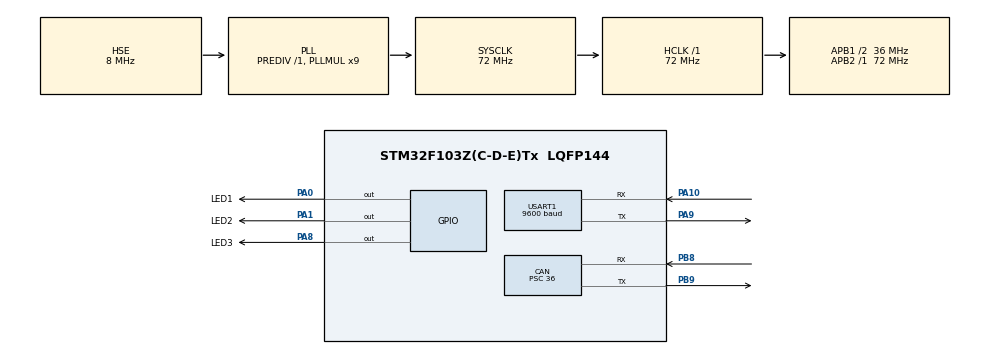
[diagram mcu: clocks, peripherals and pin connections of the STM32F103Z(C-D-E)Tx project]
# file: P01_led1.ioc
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CAN.ABOM=ENABLE
CAN.AWUM=ENABLE
CAN.BS1=CAN_BS1_2TQ
CAN.BS2=CAN_BS2_2TQ
CAN.CalculateBaudRate=200000
CAN.CalculateTimeBit=5000
CAN.CalculateTimeQuantum=1000.0
CAN.Mode=CAN_MODE_NORMAL
CAN.Prescaler=36
Mcu.Family=STM32F1
Mcu.Name=STM32F103Z(C-D-E)Tx
Mcu.Package=LQFP144
NVIC.PriorityGroup=NVIC_PRIORITYGROUP_4
OSC_IN.Mode=HSE-External-Oscillator
OSC_IN.Signal=RCC_OSC_IN
OSC_OUT.Mode=HSE-External-Oscillator
OSC_OUT.Signal=RCC_OSC_OUT
PA0-WKUP.GPIO_Label=LED1
PA0-WKUP.GPIO_Speed=GPIO_SPEED_FREQ_HIGH
PA0-WKUP.PinState=GPIO_PIN_SET
PA0-WKUP.Signal=GPIO_Output
PA1.GPIO_Label=LED2
PA1.GPIO_Speed=GPIO_SPEED_FREQ_HIGH
PA1.PinState=GPIO_PIN_SET
PA1.Signal=GPIO_Output
PA10.Mode=Asynchronous
PA10.Signal=USART1_RX
PA13.Mode=Serial_Wire
PA13.Signal=SYS_JTMS-SWDIO
PA14.Mode=Serial_Wire
PA14.Signal=SYS_JTCK-SWCLK
PA8.GPIO_Label=LED3
PA8.GPIO_Speed=GPIO_SPEED_FREQ_HIGH
PA8.PinState=GPIO_PIN_SET
PA8.Signal=GPIO_Output
PA9.Mode=Asynchronous
PA9.Signal=USART1_TX
PB8.Mode=CAN_Activate
PB8.Signal=CAN_RX
PB9.Mode=CAN_Activate
PB9.Signal=CAN_TX
PC14-OSC32_IN.Mode=LSE-External-Oscillator
PC14-OSC32_IN.Signal=RCC_OSC32_IN
PC15-OSC32_OUT.Mode=LSE-External-Oscillator
PC15-OSC32_OUT.Signal=RCC_OSC32_OUT
ProjectManager.HeapSize=0x200
ProjectManager.StackSize=0x400
ProjectManager.TargetToolchain=MDK-ARM V5.32
RCC.AHBFreq_Value=72000000
RCC.APB1CLKDivider=RCC_HCLK_DIV2
RCC.APB1Freq_Value=36000000
RCC.APB1TimFreq_Value=72000000
RCC.APB2Freq_Value=72000000
RCC.APB2TimFreq_Value=72000000
RCC.HCLKFreq_Value=72000000
RCC.PLLMUL=RCC_PLL_MUL9
RCC.PLLSourceVirtual=RCC_PLLSOURCE_HSE
RCC.SYSCLKFreq_VALUE=72000000
RCC.SYSCLKSource=RCC_SYSCLKSOURCE_PLLCLK
RCC.USBFreq_Value=72000000
USART1.BaudRate=9600
USART1.VirtualMode=VM_ASYNC
board=custom

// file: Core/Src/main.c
/* USER CODE BEGIN Header */
/**
 ******************************************************************************
 * @file           : main.c
 * @brief          : Main program body
 ******************************************************************************
 * @attention
 *
 * Copyright (c) 2026 STMicroelectronics.
 * All rights reserved.
 *
 * This software is licensed under terms that can be found in the LICENSE file
 * in the root directory of this software component.
 * If no LICENSE file comes with this software, it is provided AS-IS.
 *
 ******************************************************************************
 */
/* USER CODE END Header */
#include "main.h"
#include "can.h"
#include "usart.h"
#include "gpio.h"

/* USER CODE BEGIN Includes */
#include "Int_can.h"
/* USER CODE END Includes */

void SystemClock_Config(void);

/* USER CODE BEGIN 0 */
#define APP_START_ADDR 0x08008000
/* USER CODE END 0 */

int main(void)
{

  /* USER CODE BEGIN 1 */
  __disable_irq();
  // 重定向中断向量表
  SCB->VTOR = APP_START_ADDR;
  __enable_irq();
  /* USER CODE END 1 */

  /* MCU Configuration--------------------------------------------------------*/

  /* Reset of all peripherals, Initializes the Flash interface and the Systick. */
  HAL_Init();

  /* Configure the system clock */
  SystemClock_Config();

  /* Initialize all configured peripherals */
  MX_GPIO_Init();
  MX_CAN_Init();
  MX_USART1_UART_Init();
  /* USER CODE BEGIN 2 */
  // CAN测试
  Int_CAN_init();
  // 发送CAN消息
  // Int_CAN_send(0x1, "Hello", 5);
  // Int_CAN_send(0x1, "hi", 2);

  // 接收CAN消息
  // HAL_Delay(1000);
  CAN_Rec_MSG_t can_msg[3] = {0};
  uint8_t msg_count = 0;
  // Int_CAN_receive_msg(can_msg, &msg_count);
  // for (uint8_t i = 0; i < msg_count; i++)
  // {
  //   printf("id: %d, len: %d data: %s\n", can_msg[i].header.StdId, can_msg[i].header.DLC, can_msg[i].data);
  // }
  /* USER CODE END 2 */

  /* Infinite loop */
  /* USER CODE BEGIN WHILE */
  while (1)
  {
    Int_CAN_receive_msg(can_msg, &msg_count);
    for (uint8_t i = 0; i < msg_count; i++)
    {
      printf("id: %d, len: %d data: %s\n", can_msg[i].header.StdId, can_msg[i].header.DLC, can_msg[i].data);
    }
    msg_count = 0;
    HAL_GPIO_WritePin(LED3_GPIO_Port, LED3_Pin, GPIO_PIN_SET);
    HAL_GPIO_WritePin(LED1_GPIO_Port, LED1_Pin, GPIO_PIN_RESET);
    HAL_Delay(200);
    HAL_GPIO_WritePin(LED1_GPIO_Port, LED1_Pin, GPIO_PIN_SET);
    HAL_GPIO_WritePin(LED2_GPIO_Port, LED2_Pin, GPIO_PIN_RESET);
    HAL_Delay(200);
    HAL_GPIO_WritePin(LED2_GPIO_Port, LED2_Pin, GPIO_PIN_SET);
    HAL_GPIO_WritePin(LED3_GPIO_Port, LED3_Pin, GPIO_PIN_RESET);
    HAL_Delay(200);
    /* USER CODE END WHILE */

  }
}

void SystemClock_Config(void)
{
  RCC_OscInitTypeDef RCC_OscInitStruct = {0};
  RCC_ClkInitTypeDef RCC_ClkInitStruct = {0};

  /** Initializes the RCC Oscillators according to the specified parameters
   * in the RCC_OscInitTypeDef structure.
   */
  RCC_OscInitStruct.OscillatorType = RCC_OSCILLATORTYPE_HSE;
  RCC_OscInitStruct.HSEState = RCC_HSE_ON;
  RCC_OscInitStruct.HSEPredivValue = RCC_HSE_PREDIV_DIV1;
  RCC_OscInitStruct.HSIState = RCC_HSI_ON;
  RCC_OscInitStruct.PLL.PLLState = RCC_PLL_ON;
  RCC_OscInitStruct.PLL.PLLSource = RCC_PLLSOURCE_HSE;
  RCC_OscInitStruct.PLL.PLLMUL = RCC_PLL_MUL9;
  if (HAL_RCC_OscConfig(&RCC_OscInitStruct) != HAL_OK)
  {
    Error_Handler();
  }

  /** Initializes the CPU, AHB and APB buses clocks
   */
  RCC_ClkInitStruct.ClockType = RCC_CLOCKTYPE_HCLK | RCC_CLOCKTYPE_SYSCLK | RCC_CLOCKTYPE_PCLK1 | RCC_CLOCKTYPE_PCLK2;
  RCC_ClkInitStruct.SYSCLKSource = RCC_SYSCLKSOURCE_PLLCLK;
  RCC_ClkInitStruct.AHBCLKDivider = RCC_SYSCLK_DIV1;
  RCC_ClkInitStruct.APB1CLKDivider = RCC_HCLK_DIV2;
  RCC_ClkInitStruct.APB2CLKDivider = RCC_HCLK_DIV1;

  if (HAL_RCC_ClockConfig(&RCC_ClkInitStruct, FLASH_LATENCY_2) != HAL_OK)
  {
    Error_Handler();
  }
}

void Error_Handler(void)
{
  __disable_irq();
  while (1)
  {
  }
}
